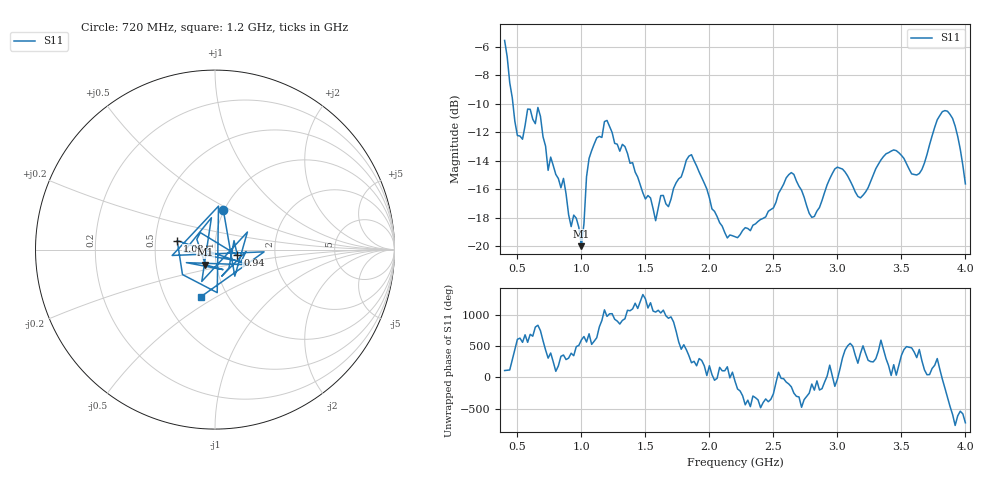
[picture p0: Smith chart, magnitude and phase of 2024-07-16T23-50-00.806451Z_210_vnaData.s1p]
!Created with skrf (http://scikit-rf.org).
# Hz S RI R 50.0
!freq ReS11 ImS11
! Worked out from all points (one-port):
!   181 points, 400 MHz to 4 GHz, reference 50 ohm
!   lowest |S11| = -20.0 dB at 1 GHz (marker M1), VSWR 1.22, Z = 44.3 - j7.59 ohm
!   |S11| at or under -10 dB: 465 MHz to end of sweep
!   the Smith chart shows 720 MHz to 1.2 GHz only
!   S11 on the Smith chart (normalised r, x): 720 MHz: 0.99, +0.46; 940 MHz: 1.28, -0.08; 1.08 GHz: 0.65, +0.07; 1.2 GHz: 0.75, -0.43
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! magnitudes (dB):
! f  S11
! 400 MHz  -5.6
! 500 MHz  -12.2
! 660 MHz  -10.3
! 720 MHz  -13.0
! 740 MHz  -14.7
! 860 MHz  -15.2
! 920 MHz  -18.6
! 940 MHz  -17.8
! 1 GHz  -20.0
! 1.04 GHz  -15.1
! 1.08 GHz  -13.3
! 1.2 GHz  -11.2
! 1.3 GHz  -13.3
! 1.58 GHz  -18.2
! 1.76 GHz  -15.3
! 1.86 GHz  -13.6
! 2.2 GHz  -19.3
! 2.66 GHz  -15.0
! 2.8 GHz  -18.0
! 2.98 GHz  -14.6
! 3.1 GHz  -15.4
! 3.18 GHz  -16.6
! 3.44 GHz  -13.2
! 3.56 GHz  -14.6
! 3.64 GHz  -14.9
! 3.86 GHz  -10.5
! 3.94 GHz  -12.3
! 4 GHz  -15.6
